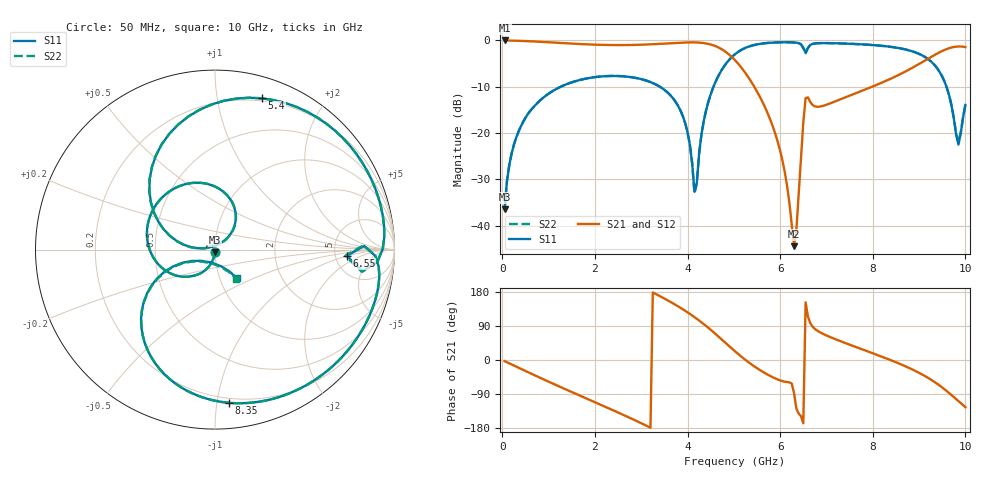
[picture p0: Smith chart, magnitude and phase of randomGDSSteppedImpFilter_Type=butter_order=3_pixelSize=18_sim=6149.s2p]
! freq	dB(S11)	phase(S11)	dB(S12)	phase(S12)
!  dB(S21)	phase(S21)	dB(S22)	phase(S22)
!S-par simulation data
#  GHz  S  DB  R 50
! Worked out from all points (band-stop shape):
!   200 points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, 50 MHz to 10 GHz, reference 50 ohm
!   highest |S21| = 0.00 dB at 50 MHz (marker M1); lowest = -44.4 dB at 6.3 GHz (marker M2)
!   |S21| within 3 dB of the highest: start of sweep to 4.892 GHz; 9.359 GHz to end of sweep
!   lowest |S11| = -36.5 dB at 50 MHz (marker M3), VSWR 1.03, Z = 49.9 - j1.5 ohm
!   |S11| at or under -10 dB: start of sweep to 1.262 GHz; 3.403 GHz to 4.561 GHz (1.158 GHz wide, 29.1 % of centre); 9.591 GHz to end of sweep
!   |S22| runs from -36.5 to -0.4 dB; largest |S21 - S12| = 0
!   S11 on the Smith chart (normalised r, x): 50 MHz: 1.00, -0.03; 5.4 GHz: 0.18, +1.34; 6.55 GHz: 6.39, -0.98; 8.35 GHz: 0.17, -1.08; 10 GHz: 1.21, -0.40
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0.05  -36.48 -92.7  -0.00 -3.0  -0.00 -3.0  -36.48 -92.7
0.2  -24.48 -101.7  -0.04 -11.7  -0.04 -11.7  -24.48 -101.7
0.5  -16.72 -119.5  -0.14 -29.0  -0.14 -29.0  -16.72 -119.5
1.1  -10.85 -153.3  -0.45 -62.8  -0.45 -62.8  -10.85 -153.3
1.75  -8.36 171.3  -0.81 -98.1  -0.81 -98.1  -8.36 171.3
2.65  -7.78 122.8  -1.00 -146.8  -1.00 -146.8  -7.78 122.7
3.4  -9.98 79.3  -0.74 168.8  -0.74 168.8  -9.98 79.1
3.95  -17.88 45.6  -0.44 129.8  -0.44 129.8  -17.89 45.1
4.15  -32.71 80.4  -0.42 113.2  -0.42 113.2  -33.03 79.1
4.45  -13.23 167.3  -0.75 84.9  -0.75 84.9  -13.24 167.6
5.05  -2.78 106.4  -4.54 20.4  -4.54 20.4  -2.78 106.4
5.4  -1.09 72.8  -9.31 -13.2  -9.31 -13.2  -1.09 72.8
6  -0.41 27.4  -23.83 -53.9  -23.83 -53.9  -0.41 27.4
6.3  -0.44 7.7  -44.44 -87.4  -44.44 -87.4  -0.44 7.6
6.55  -2.68 -2.7  -12.45 152.2  -12.45 152.2  -2.76 -2.7
6.7  -0.75 -6.1  -13.94 87.9  -13.94 87.9  -0.75 -5.9
7.5  -0.72 -46.9  -11.92 40.4  -11.92 40.4  -0.72 -46.9
8.35  -1.34 -84.7  -8.44 1.4  -8.44 1.4  -1.34 -84.6
9.3  -4.96 -136.8  -3.34 -55.3  -3.34 -55.3  -4.95 -136.6
9.6  -10.25 -156.3  -1.84 -82.2  -1.84 -82.2  -10.22 -155.8
9.85  -22.51 -103.7  -1.31 -108.4  -1.31 -108.4  -22.05 -104.2
10  -13.93 -52.6  -1.43 -124.4  -1.43 -124.4  -13.88 -53.8
